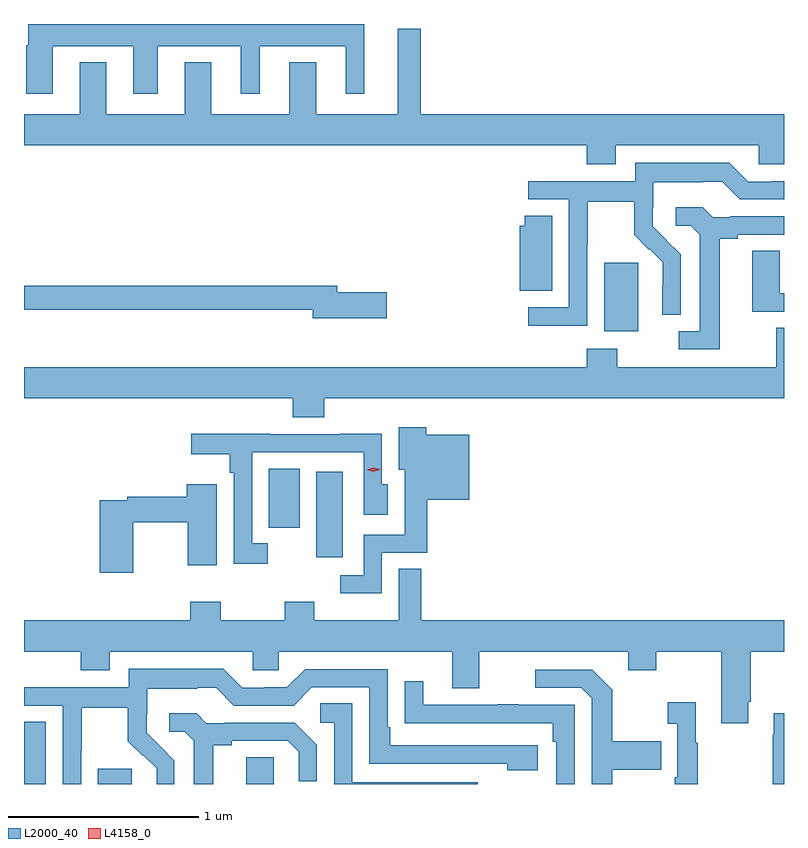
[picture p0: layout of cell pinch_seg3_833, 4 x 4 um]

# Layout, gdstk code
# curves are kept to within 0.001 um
import gdstk
lib = gdstk.Library(unit=1e-6, precision=1e-09)
def R(c, l, rs):  # rectangles x0, y0, x1, y1
    for r in rs: c.add(gdstk.rectangle(r[:2], r[2:], *l))
def P(c, l, *ps):  # polygons
    for p in ps: c.add(gdstk.Polygon(p, *l))
L2000_40 = (2000, 40)
L4158_0 = (4158, 0)

pinch_seg3_833 = lib.new_cell('pinch_seg3_833')
R(pinch_seg3_833, L2000_40, [(705.06,734.851,705.175,735.179), (705.449,734.851,705.628,734.931), (706.229,734.851,706.374,734.993), (706.598,736.044,706.738,736.495), (706.349,736.2,706.51,736.511), (708.113,737.234,708.292,737.595), (707.9,738.849,708.083,738.851)])
P(pinch_seg3_833, L2000_40, [(705.211,738.734),(705.635,738.734),(705.635,738.483),(705.763,738.483),(705.763,738.734),(706.202,738.734),(706.202,738.483),(706.3,738.483),(706.3,738.734),(706.754,738.734),(706.754,738.483),(706.852,738.483),(706.852,738.851),(705.083,738.851),(705.083,738.738),(705.071,738.738),(705.071,738.483),(705.211,738.483)],
  [(707.027,738.826),(707.027,738.376),(706.597,738.376),(706.597,738.649),(706.457,738.649),(706.457,738.376),(706.045,738.376),(706.045,738.649),(705.905,738.649),(705.905,738.376),(705.493,738.376),(705.493,738.649),(705.353,738.649),(705.353,738.376),(705.06,738.376),(705.06,738.212),(708.023,738.212),(708.023,738.113),(708.175,738.113),(708.175,738.212),(708.927,738.212),(708.927,738.114),(709.06,738.114),(709.06,738.376),(707.149,738.376),(707.149,738.826)],
  [(708.024,737.692),(708.027,737.692),(708.027,737.916),(708.271,737.916),(708.271,737.741),(708.348,737.664),(708.351,737.667),(708.422,737.597),(708.422,737.474),(708.42,737.474),(708.42,737.32),(708.516,737.32),(708.516,737.638),(708.37,737.786),(708.37,737.883),(708.372,737.883),(708.372,738.017),(708.635,738.017),(708.635,738.021),(708.735,738.021),(708.828,737.928),(709.06,737.928),(709.06,738.024),(708.989,738.024),(708.989,738.021),(708.873,738.021),(708.773,738.121),(708.276,738.121),(708.276,738.024),(707.715,738.024),(707.715,737.928),(707.928,737.928),(707.928,737.361),(707.715,737.361),(707.715,737.263),(708.024,737.263)],
  [(708.721,737.72),(708.817,737.72),(708.817,737.742),(709.06,737.742),(709.06,737.838),(708.778,737.838),(708.778,737.835),(708.684,737.835),(708.632,737.887),(708.489,737.887),(708.489,737.79),(708.57,737.79),(708.617,737.743),(708.617,737.235),(708.507,737.235),(708.507,737.139),(708.721,737.139)],
  [(707.839,737.843),(707.696,737.843),(707.696,737.79),(707.669,737.79),(707.669,737.446),(707.839,737.446)],
  [(709.06,737.433),(709.038,737.433),(709.038,737.657),(708.893,737.657),(708.893,737.337),(709.06,737.337)],
  [(706.969,737.438),(706.708,737.438),(706.708,737.474),(705.06,737.474),(705.06,737.346),(706.58,737.346),(706.58,737.303),(706.969,737.303)],
  [(706.64,736.88),(709.06,736.88),(709.06,737.252),(709.019,737.252),(709.019,737.044),(708.183,737.044),(708.183,737.143),(708.023,737.143),(708.023,737.044),(705.06,737.044),(705.06,736.88),(706.475,736.88),(706.475,736.781),(706.64,736.781)],
  [(706.944,736.068),(707.182,736.068),(707.182,736.346),(707.404,736.346),(707.404,736.69),(707.177,736.69),(707.177,736.729),(707.033,736.729),(707.033,736.505),(707.063,736.505),(707.063,736.164),(706.848,736.164),(706.848,735.951),(706.725,735.951),(706.725,735.854),(706.944,735.854)],
  [(706.342,736.119),(706.26,736.119),(706.26,736.596),(706.848,736.596),(706.848,736.269),(706.975,736.269),(706.975,736.428),(706.944,736.428),(706.944,736.694),(706.723,736.694),(706.723,736.692),(706.357,736.692),(706.357,736.694),(705.939,736.694),(705.939,736.586),(706.144,736.586),(706.144,736.49),(706.164,736.49),(706.164,736.011),(706.342,736.011)],
  [(705.636,736.228),(705.922,736.228),(705.922,736.002),(706.075,736.002),(706.075,736.429),(705.917,736.429),(705.917,736.364),(705.604,736.364),(705.604,736.344),(705.458,736.344),(705.458,735.963),(705.636,735.963)],
  [(708.871,735.283),(708.884,735.283),(708.884,735.548),(709.06,735.548),(709.06,735.712),(707.152,735.712),(707.152,735.983),(707.033,735.983),(707.033,735.712),(706.587,735.712),(706.587,735.811),(706.432,735.811),(706.432,735.712),(706.095,735.712),(706.095,735.811),(705.935,735.811),(705.935,735.712),(705.06,735.712),(705.06,735.548),(705.359,735.548),(705.359,735.449),(705.511,735.449),(705.511,735.548),(706.263,735.548),(706.263,735.45),(706.401,735.45),(706.401,735.548),(707.315,735.548),(707.315,735.354),(707.455,735.354),(707.455,735.548),(708.239,735.548),(708.239,735.449),(708.387,735.449),(708.387,735.548),(708.731,735.548),(708.731,735.171),(708.871,735.171)],
  [(705.36,735.028),(705.363,735.028),(705.363,735.252),(705.607,735.252),(705.607,735.077),(705.684,735),(705.687,735.003),(705.758,734.933),(705.758,734.851),(705.852,734.851),(705.852,734.974),(705.706,735.122),(705.706,735.219),(705.708,735.219),(705.708,735.353),(705.971,735.353),(705.971,735.357),(706.071,735.357),(706.164,735.264),(706.479,735.264),(706.575,735.36),(706.878,735.36),(706.878,734.958),(707.603,734.958),(707.603,734.924),(707.764,734.924),(707.764,735.054),(706.987,735.054),(706.987,735.151),(706.974,735.151),(706.974,735.456),(706.539,735.456),(706.443,735.36),(706.325,735.36),(706.325,735.357),(706.209,735.357),(706.109,735.457),(705.612,735.457),(705.612,735.36),(705.06,735.36),(705.06,735.264),(705.264,735.264),(705.264,734.851),(705.36,734.851)],
  [(708.157,734.927),(708.413,734.927),(708.413,735.075),(708.157,735.075),(708.157,735.347),(708.051,735.453),(707.751,735.453),(707.751,735.357),(707.994,735.357),(708.048,735.303),(708.048,734.851),(708.157,734.851)],
  [(707.958,735.267),(707.663,735.267),(707.663,735.272),(707.551,735.272),(707.551,735.267),(707.161,735.267),(707.161,735.391),(707.065,735.391),(707.065,735.172),(707.167,735.172),(707.167,735.171),(707.842,735.171),(707.842,735.074),(707.862,735.074),(707.862,734.851),(707.958,734.851)],
  [(708.607,735.067),(708.595,735.067),(708.595,735.28),(708.447,735.28),(708.447,735.167),(708.498,735.167),(708.498,734.887),(708.486,734.887),(708.486,734.851),(708.607,734.851)],
  [(707.447,734.859),(706.788,734.859),(706.788,735.275),(706.62,735.275),(706.62,735.174),(706.692,735.174),(706.692,734.851),(707.447,734.851)],
  [(709.06,735.223),(709.007,735.223),(709.007,735.11),(709,735.11),(709,734.851),(709.06,734.851)],
  [(706.057,735.056),(706.153,735.056),(706.153,735.078),(706.448,735.078),(706.505,735.021),(706.505,734.865),(706.602,734.865),(706.602,735.058),(706.486,735.174),(706.114,735.174),(706.114,735.171),(706.02,735.171),(705.968,735.223),(705.825,735.223),(705.825,735.126),(705.906,735.126),(705.953,735.079),(705.953,734.851),(706.057,734.851)])
P(pinch_seg3_833, L4158_0, [(706.899,736.495),(706.863,736.504),(706.863,736.504),(706.863,736.504),(706.898,736.515),(706.933,736.507),(706.933,736.506),(706.933,736.506)])

lib.write_gds('pinch_seg3_833.gds')
